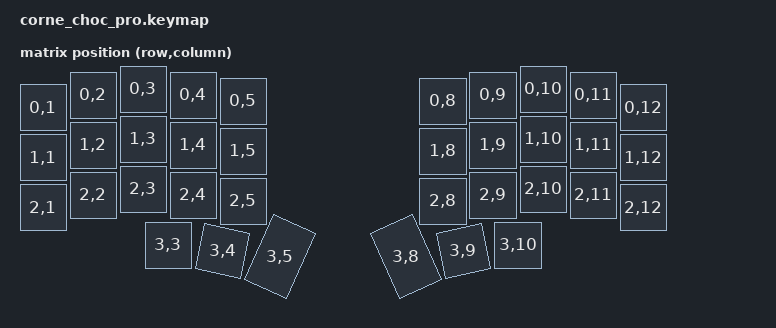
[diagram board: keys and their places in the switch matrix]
/*
 * Skeletyl layout adapter for the Keebart Corne Choc Pro BT display version.
 *
 * The Keebart PCB exposes a 46-position matrix. The integrated displays occupy
 * the four inner top/home-row positions, and this layout deliberately ignores
 * the six outer-column switches. The resulting 5x3+3-per-half ordering is
 * identical to the Skeletyl's 36 key positions, so the complete keymap and all
 * combo position numbers can be shared without translation or duplication.
 */

#include <physical_layouts.dtsi>
#include <dt-bindings/zmk/matrix_transform.h>
#include <dt-bindings/zmk/rgb.h>

/*
 * Reuse Keebart's five-column transform so its right-half col-offset remains
 * intact, but also remove the four optional inner switch/encoder positions.
 */
&five_col_transform {
    /delete-property/ map;
    columns = <12>;
    rows = <4>;
    map = <
        RC(0,1) RC(0,2) RC(0,3) RC(0,4) RC(0,5)           RC(0,8) RC(0,9) RC(0,10) RC(0,11) RC(0,12)
        RC(1,1) RC(1,2) RC(1,3) RC(1,4) RC(1,5)           RC(1,8) RC(1,9) RC(1,10) RC(1,11) RC(1,12)
        RC(2,1) RC(2,2) RC(2,3) RC(2,4) RC(2,5)           RC(2,8) RC(2,9) RC(2,10) RC(2,11) RC(2,12)
                        RC(3,3) RC(3,4) RC(3,5)           RC(3,8) RC(3,9) RC(3,10)
    >;
};

/* Keep ZMK Studio's physical keyboard view aligned with those 36 keys. */
&five_col_layout {
    display-name = "36-Key Display Layout";
    /delete-property/ keys;
    keys
        = <&key_physical_attrs 100 100    0   37       0     0     0>
        , <&key_physical_attrs 100 100  100   12       0     0     0>
        , <&key_physical_attrs 100 100  200    0       0     0     0>
        , <&key_physical_attrs 100 100  300   12       0     0     0>
        , <&key_physical_attrs 100 100  400   24       0     0     0>
        , <&key_physical_attrs 100 100  800   24       0     0     0>
        , <&key_physical_attrs 100 100  900   12       0     0     0>
        , <&key_physical_attrs 100 100 1000    0       0     0     0>
        , <&key_physical_attrs 100 100 1100   12       0     0     0>
        , <&key_physical_attrs 100 100 1200   37       0     0     0>

        , <&key_physical_attrs 100 100    0  137       0     0     0>
        , <&key_physical_attrs 100 100  100  112       0     0     0>
        , <&key_physical_attrs 100 100  200  100       0     0     0>
        , <&key_physical_attrs 100 100  300  112       0     0     0>
        , <&key_physical_attrs 100 100  400  124       0     0     0>
        , <&key_physical_attrs 100 100  800  124       0     0     0>
        , <&key_physical_attrs 100 100  900  112       0     0     0>
        , <&key_physical_attrs 100 100 1000  100       0     0     0>
        , <&key_physical_attrs 100 100 1100  112       0     0     0>
        , <&key_physical_attrs 100 100 1200  137       0     0     0>

        , <&key_physical_attrs 100 100    0  237       0     0     0>
        , <&key_physical_attrs 100 100  100  212       0     0     0>
        , <&key_physical_attrs 100 100  200  200       0     0     0>
        , <&key_physical_attrs 100 100  300  212       0     0     0>
        , <&key_physical_attrs 100 100  400  224       0     0     0>
        , <&key_physical_attrs 100 100  800  224       0     0     0>
        , <&key_physical_attrs 100 100  900  212       0     0     0>
        , <&key_physical_attrs 100 100 1000  200       0     0     0>
        , <&key_physical_attrs 100 100 1100  212       0     0     0>
        , <&key_physical_attrs 100 100 1200  237       0     0     0>

        , <&key_physical_attrs 100 100  250  312       0     0     0>
        , <&key_physical_attrs 100 100  350  312    1200   350   412>
        , <&key_physical_attrs 100 150  448  283    2400   448   433>
        , <&key_physical_attrs 100 150  752  283 (-2400)   852   433>
        , <&key_physical_attrs 100 100  850  312 (-1200)   950   412>
        , <&key_physical_attrs 100 100  950  312       0     0     0>
        ;
};

/*
 * Complete mapping between Keebart's 46-position view and this 36-key view.
 * Values 36..45 are the ten deliberately unused positions.
 */
&five_col_map {
    /delete-property/ positions;
    positions
        = <45  0  1  2  3  4 44 43  5  6  7  8  9 42>
        , <41 10 11 12 13 14 40 39 15 16 17 18 19 38>
        , <37 20 21 22 23 24       25 26 27 28 29 36>
        , <         30 31 32       33 34 35         >;
};

/ {
    chosen {
        zmk,physical-layout = &five_col_layout;
    };
};

/* BLUE+Q is redundant for "!" elsewhere, so it becomes the RGB toggle here. */
#define SETTINGS_PRIMARY &rgb_ug RGB_TOG
#include "skeletyl.keymap"
